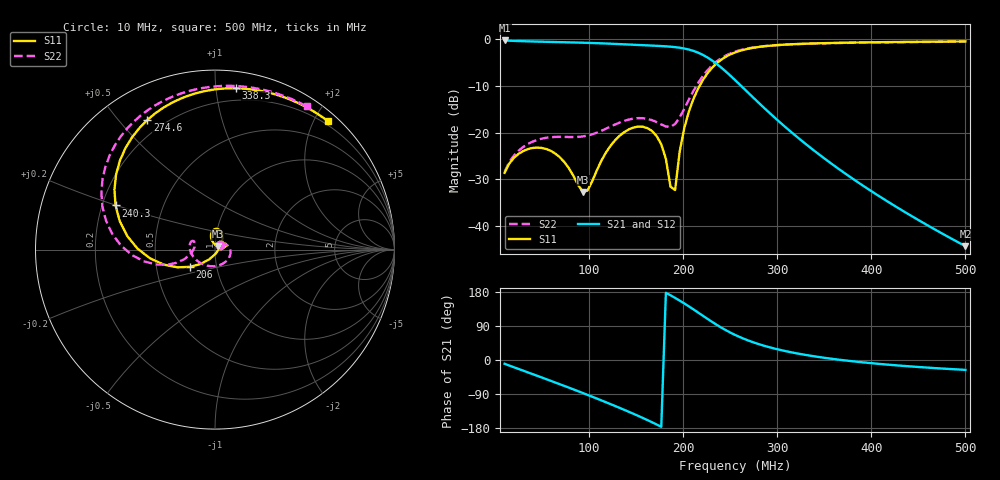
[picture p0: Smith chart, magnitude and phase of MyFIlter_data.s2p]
! Created Fri Dec 19 17:45:58 2025
# hz S ma R 50
! 2 Port Network Data from SP1.SP block
! freq  magS11  angS11  magS21  angS21  magS12  angS12  magS22  angS22
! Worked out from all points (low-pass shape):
!   101 points, 10 MHz to 500 MHz, reference 50 ohm
!   highest |S21| = -0.21 dB at 10 MHz (marker M1); lowest = -44.4 dB at 500 MHz (marker M2)
!   |S21| within 3 dB of the highest: start of sweep to 219.8 MHz
!   lowest |S11| = -32.8 dB at 93.3 MHz (marker M3), VSWR 1.05, Z = 51.4 + j1.84 ohm
!   |S11| at or under -10 dB: start of sweep to 217.3 MHz
!   |S22| runs from -28.5 to -0.5 dB; largest |S21 - S12| = 0
!   S11 on the Smith chart (normalised r, x): 10 MHz: 1.05, +0.05; 206 MHz: 0.74, -0.15; 240.3 MHz: 0.26, +0.20; 274.6 MHz: 0.14, +0.60; 338.3 MHz: 0.11, +1.13; 500 MHz: 0.14, +2.20
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1e7  0.03696 42.3  0.9759 -10.0  0.9759 -10.0  0.03779 39.8
2.96e7  0.06322 32.8  0.9584 -28.0  0.9584 -28.0  0.06981 21.8
5.41e7  0.06666 20.0  0.9439 -50.4  0.9439 -50.4  0.08792 -8.9
7.37e7  0.04798 14.7  0.9337 -68.6  0.9337 -68.6  0.0898 -41.3
9.33e7  0.02302 51.1  0.9228 -87.3  0.9228 -87.3  0.09095 -82.6
9.82e7  0.02386 75.5  0.9196 -92.0  0.9196 -92.0  0.09287 -93.8
1.227e8  0.07228 107.8  0.9004 -116.5  0.9004 -116.5  0.1161 -146.2
1.374e8  0.1015 99.6  0.8868 -131.7  0.8868 -131.7  0.1337 -170.7
1.619e8  0.1117 76.6  0.8639 -158.6  0.8639 -158.6  0.1405 161.8
1.766e8  0.07462 55.7  0.8496 -176.3  0.8496 -176.3  0.1224 159.7
1.815e8  0.05225 43.7  0.8437 177.3  0.8437 177.3  0.1163 164.5
1.864e8  0.02623 15.4  0.8365 170.7  0.8365 170.7  0.1151 172.8
1.913e8  0.02416 -83.7  0.8273 163.9  0.8273 163.9  0.1237 -176.9
1.962e8  0.06279 -120.5  0.8153 156.7  0.8153 156.7  0.1455 -167.9
2.06e8  0.1689 -145.3  0.7791 141.4  0.7791 141.4  0.2267 -161.1
2.207e8  0.3648 -172.3  0.6841 117.0  0.6841 117.0  0.4033 -170.8
2.403e8  0.6062 156.1  0.4998 85.7  0.4998 85.7  0.6287 165.1
2.55e8  0.7255 136.9  0.367 66.3  0.367 66.3  0.7394 148.0
2.746e8  0.8148 117.6  0.2365 46.5  0.2365 46.5  0.821 129.7
3.383e8  0.9063 82.6  0.06499 10.1  0.06499 10.1  0.903 94.4
4.216e8  0.9381 60.9  0.01709 -13.1  0.01709 -13.1  0.9326 70.9
5e8  0.9526 48.8  0.006024 -26.1  0.006024 -26.1  0.9472 57.4
